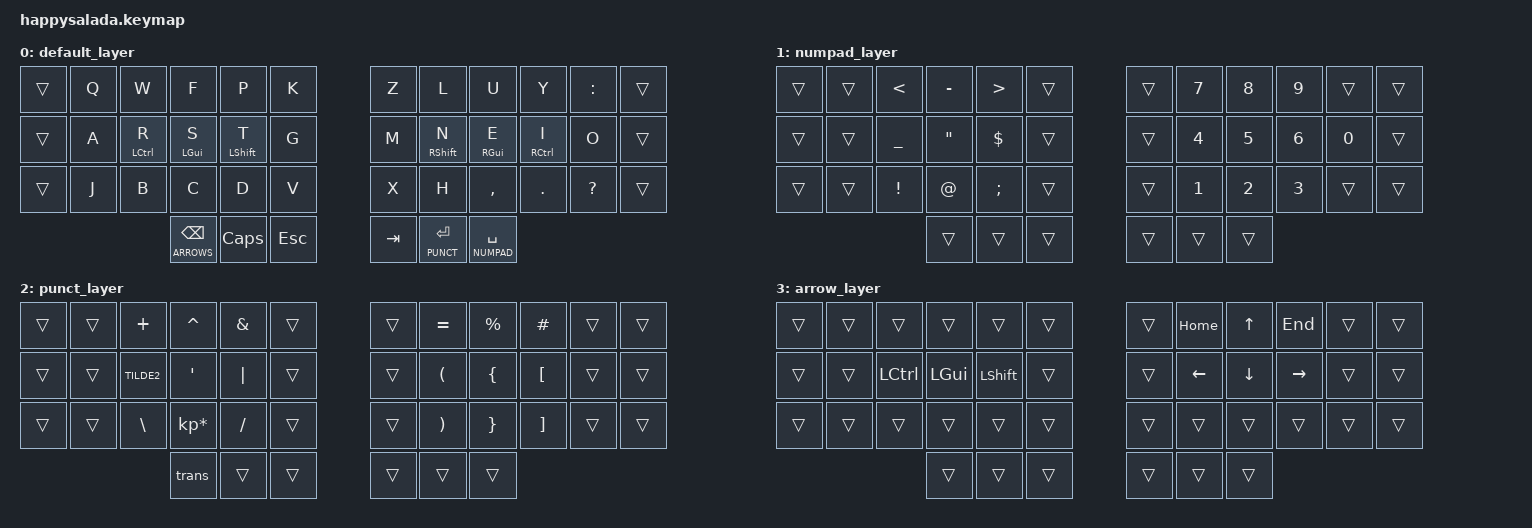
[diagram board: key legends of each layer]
/*
 * Copyright (c) 2020 The ZMK Contributors
 *
 * SPDX-License-Identifier: MIT
 */

#include <behaviors.dtsi>
#include <dt-bindings/zmk/keys.h>
#include <dt-bindings/zmk/bt.h>


#define DEFAULT 0
#define NUMPAD  1
#define PUNCT   2
#define ARROWS  3

/ {
        keymap {
                compatible = "zmk,keymap";

                default_layer {
// -----------------------------------------------------------------------------------------
// |      |  Q  |  W  |  F  |  P   |  K  |                          |  Z  |  L   |  U  |  Y  |  :  |      |
// |      |  A  |  R  |  S  |  T   |  G  |                          |  M  |  N   |  E  |  I  |  O  |      |
// |      |  J  |  B  |  C  |  D   |  V  |                          |  X  |  H   |  ,  |  .  |  ?  |      |
//                    | GUI | CAPS | SPC |                          | ENT | RSE  | ALT |
                        bindings = <
   &trans   &kp Q &kp W       &kp F      &kp P       &kp K           &kp Z &kp L        &kp U        &kp Y         &kp COLON  &trans
   &trans   &kp A &mt LCTRL R &mt LGUI S &mt LSHFT T &kp G           &kp M &mt RSHFT N  &mt RGUI E   &mt RCTRL I   &kp O      &trans
   &trans   &kp J &kp B       &kp C      &kp D       &kp V           &kp X &kp H        &kp COMMA    &kp DOT       &kp QMARK  &trans
                 &lt ARROWS BSPC &kp CAPS &kp ESC   &kp TAB &lt PUNCT RET &lt NUMPAD SPACE
                        >;
                };
                numpad_layer {
// -----------------------------------------------------------------------------------------
// |      |     |  <  |  -  |  >  |     |                         |     |  7  |  8  |  9  |     |      |
// |      |     |  _  |  "  |  $  |     |                         |     |  4  |  5  |  6  |  0  |      |
// |      |     |  !  |  @  |  ;  |     |                         |     |  1  |  2  |  3  |     |      |
//                    |     |     |     |                         |     |     |     |
                        bindings = <
   &trans  &trans  &kp LT     &kp MINUS  &kp GT    &trans         &trans   &kp N7   &kp N8 &kp N9  &trans &trans
   &trans  &trans  &kp UNDER  &kp DQT    &kp DLLR  &trans         &trans   &kp N4   &kp N5 &kp N6  &kp N0 &trans
   &trans  &trans  &kp EXCL   &kp AT     &kp SEMI  &trans         &trans   &kp N1   &kp N2 &kp N3  &trans &trans
                          	&trans     &trans    &trans         &trans   &trans   &trans
                        >;
                };

                punct_layer {
// -----------------------------------------------------------------------------------------
// |      |     |  +  |  ^  |  &  |     |                             |     |  =  |  %  |  #  |     |      |
// |      |     |  ~  |  '  |  |  |     |                             |     |  (  |  {  |  [  |     |      |
// |      |     |  \  |  *  |  /  |     |                             |     |  )  |  }  |  ]  |     |      |
//                    |     |     |     |                             |     |     |     |
                        bindings = <
   &trans &trans   &kp PLUS    &kp CARET        &kp AMPS   &trans      &trans  &kp EQUAL &kp PRCNT  &kp HASH &trans &trans
   &trans &trans   &kp TILDE2  &kp SQT          &kp PIPE   &trans      &trans  &kp LPAR  &kp LBRC   &kp LBKT &trans &trans
   &trans &trans   &kp BSLH    &kp KP_MULTIPLY  &kp FSLH   &trans      &trans  &kp RPAR  &kp RBRC   &kp RBKT &trans &trans
                    	       &kp trans        &trans     &trans      &trans  &trans    &trans
                        >;
                };

                arrow_layer {
// -----------------------------------------------------------------------------------------
// |      |     |  @  |  #  |  $  |     |                     |     |     |  ^  |     |     |      |
// |      |     |     |     |     |     |                     |     |  <- |  |  |  -> |     |      |
// |      |     |     |     |     |     |                     |     |     |     |     |     |      |
//                    |     |     |     |                     |     |     |     |
                        bindings = <
   &trans  &trans  &trans     &trans    &trans     &trans      &trans &kp HOME  &kp UP    &kp END    &trans &trans
   &trans  &trans  &kp LCTRL  &kp LGUI  &kp LSHFT  &trans      &trans &kp LEFT  &kp DOWN  &kp RIGHT  &trans &trans
   &trans  &trans  &trans     &trans    &trans     &trans      &trans &trans    &trans    &trans     &trans &trans
                    	      &trans    &trans     &trans      &trans &trans    &trans
                        >;
                };
        };
};
